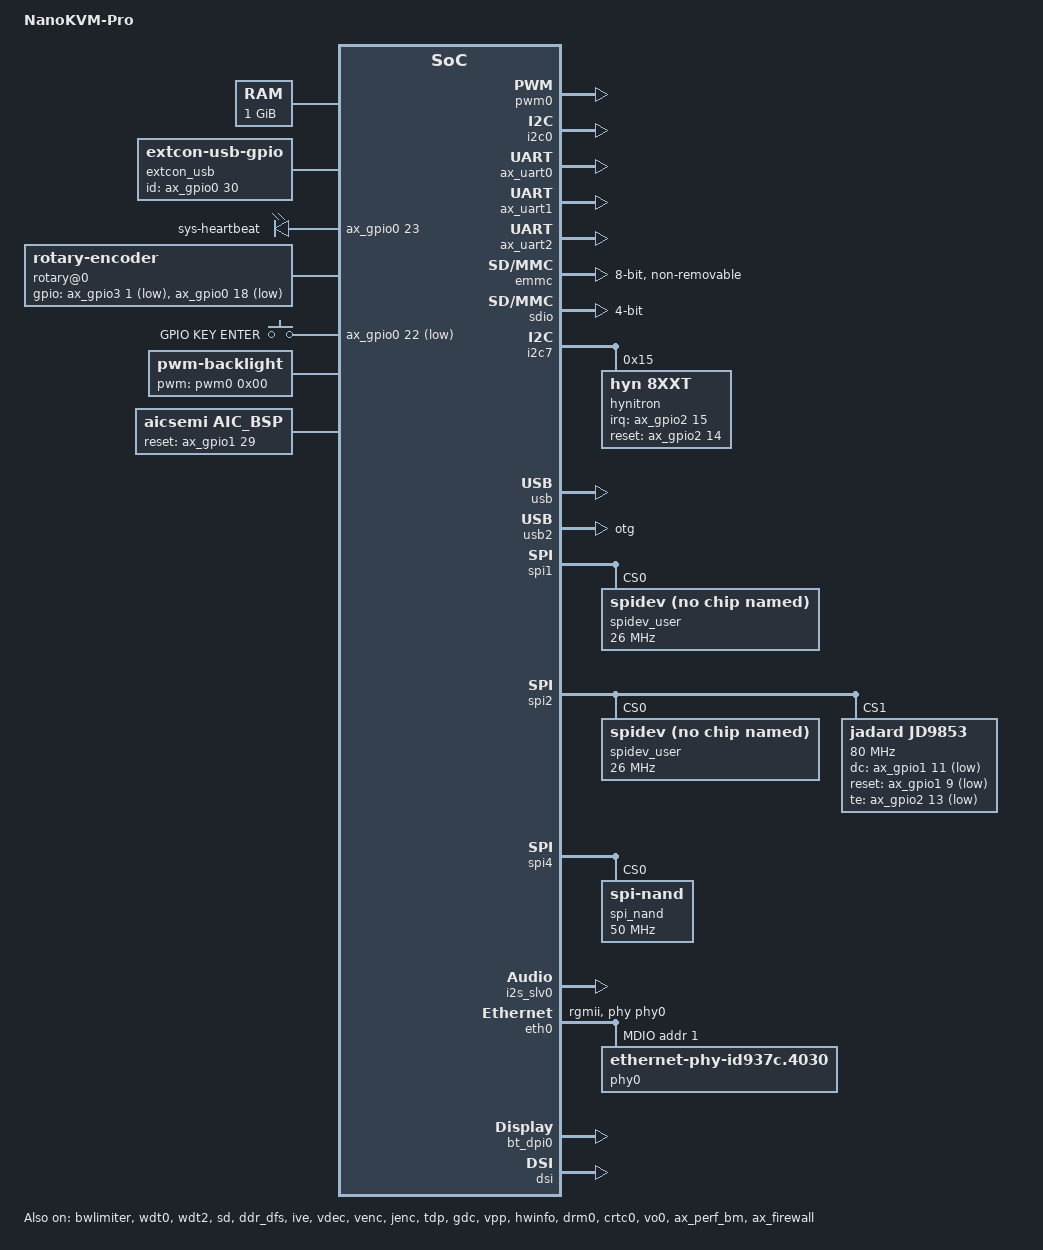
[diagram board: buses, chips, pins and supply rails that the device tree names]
// SPDX-License-Identifier: GPL-2.0
/**************************************************************************************************
 *
 * Copyright (c) 2019-2024 Axera Semiconductor Co., Ltd. All Rights Reserved.
 *
 * This dts file is the property of Axera Semiconductor Co., Ltd. and
 * may not be copied or distributed in any isomorphic form without the prior
 * written consent of Axera Semiconductor Co., Ltd.
 *
 **************************************************************************************************/

/dts-v1/;
#include "AX620E.dtsi"
/ {
	model = "NanoKVM-Pro";

	memory@40000000 {
		device_type = "memory";
		reg = <0x0 0x40000000 0x0 0x40000000>;
	};
	reserved-memory {
		#address-cells = <2>;
		#size-cells = <2>;
		ranges;
		boot_logo_reserved@70000036 {
			reg = <0x00 0x70000036 0x00 0x34bc00>;
			id = <0x00>;
			compatible = "boot_logo";
		};
		ramoops_mem@48000000 {
			compatible = "ramoops";
			reg = <0x0 0x48000000 0x0 0xf0000>;
			record-size = <0x40000>;
			console-size = <0x80000>;
			ftrace-size = <0x20000>;
		};
		axera_memory_dump@0 {
			compatible = "axera_memory_dump";
			reg = <0x0 0x480f0000 0x0 0x3000>;
			dump_ranges = <0x00 0x40001000 0x01 0x00>;
			no-map;
		};
		atf_reserved: atf_memreserved {
			reg = <ATF_RESERVED_START_HI ATF_RESERVED_START_LO ATF_RESERVED_SIZE_HI ATF_RESERVED_SIZE_LO>;
			no-map;
		};
#ifdef OPTEE_BOOT
		optee_reserved: optee_memserved {
			reg = <OPTEE_RESERVED_START_HI OPTEE_RESERVED_START_LO OPTEE_RESERVED_SIZE_HI OPTEE_RESERVED_SIZE_LO>;
			no-map;
		};
#endif
		axera_ddr_retrain@0 {
			compatible = "axera_ddr_retrain";
			reg = <0x0 0x40000000 0x0 0x1000>;
		};
	};

	chosen {
		bootargs = "mem=704M earlycon=uart8250,mmio32,0x4880000 board_id=0x5,boot_reason=0x00,initcall_debug=0 loglevel=8 usbcore.autosuspend=-1 root=/dev/mmcblk0p17 rootfstype=ext4 rw rootwait blkdevparts=mmcblk0:768K(spl),512K(ddrinit),256K(atf),256K(atf_b),1536K(uboot),1536K(uboot_b),1M(env),6M(logo),6M(logo_b),1M(optee),1M(optee_b),1M(dtb),1M(dtb_b),64M(kernel),64M(kernel_b),128M(boot),-(rootfs) logomode=vo0@dpi logomode=vo0@dsi_dpi_video";
	};

	dummy_codec: dummy-codec {
		compatible = "dummy-codec";
		#sound-dai-cells = <0>;
	};

	sound {
		status = "okay";
		compatible = "simple-audio-card";
		simple-audio-card,name = "Lontium Lt6911UXC";
		simple-audio-card,format = "i2s";
		simple-audio-card,bitclock-master = <&codec>;
		simple-audio-card,frame-master = <&codec>;
	/*	#address-cells = <1>;
		#size-cells = <0>;*/

		simple-audio-card,cpu {
			sound-dai = <&i2s_slv0>;
		};
		codec: simple-audio-card,codec {
			sound-dai = <&dummy_codec>;
		};
	/*	simple-audio-card,dai-link@0 {
			format = "i2s";
			cpu {
				sound-dai = <&i2s_mst0>;
			};
			codec {
				sound-dai = <&es7243l>;
				system-clock-frequency = <12288000>;
			};
		};
		simple-audio-card,dai-link@1 {
			format = "i2s";
			cpu {
				sound-dai = <&i2s_mst0>;
			};
			codec {
				sound-dai = <&es8156>;
				system-clock-frequency = <12288000>;
			};
		};
		simple-audio-card,dai-link@0 {
			format = "i2s";
			bitclock-master = <&codec_m2>;
			frame-master = <&codec_m2>;
			cpu {
				sound-dai = <&i2s_slv0>;
			};
			codec_m2: codec {
				sound-dai = <&es7243l>;
				system-clock-frequency = <12288000>;
			};
		};
		simple-audio-card,dai-link@1 {
			format = "i2s";
			bitclock-master = <&codec_m3>;
			frame-master = <&codec_m3>;
			cpu {
				sound-dai = <&i2s_slv0>;
			};
			codec_m3: codec {
				sound-dai = <&es8156>;
				system-clock-frequency = <12288000>;
			};
		};
		simple-audio-card,dai-link@0 {
			format = "dsp_b";
			cpu {
				sound-dai = <&i2s_tdm_mst0>;
				dai-tdm-slot-num = <2>;
				dai-tdm-slot-width = <32>;
				dai-tdm-slot-rx-mask = <1 1>;
			};
			codec {
				sound-dai = <&es7243l>;
				system-clock-frequency = <12288000>;
			};
		};
		simple-audio-card,dai-link@0 {
			format = "dsp_b";
			bitclock-master = <&codec_m5>;
			frame-master = <&codec_m5>;
			cpu {
				sound-dai = <&i2s_tdm_slv0>;
				dai-tdm-slot-num = <2>;
				dai-tdm-slot-width = <32>;
				dai-tdm-slot-rx-mask = <1 1>;
			};
			codec_m5: codec {
				sound-dai = <&es7243l>;
				system-clock-frequency = <12288000>;
			};
		};*/
	/*	simple-audio-card,dai-link@0 {
			format = "i2s";
			bitclock-master = <&codec_m6>;
			frame-master = <&codec_m6>;
			capture-only;
			cpu {
				//sound-dai = <&i2s_inner_slv0>;
			};
			codec_m6: codec {
				//sound-dai = <&audio_codec>;
				system-clock-frequency = <12288000>;
			};
		};
		simple-audio-card,dai-link@1 {
			format = "i2s";
			playback-only;
			cpu {
				//sound-dai = <&i2s_inner_mst0>;
			};
			codec {
				//sound-dai = <&audio_codec>;
				system-clock-frequency = <12288000>;
			};
		};*/
	};

	vfb0: vfb@0 {
		compatible = "axera,vfb";
		id = <0>;
		width = <480>;
		height = <640>;
		bpp = <32>;
		buf-num = <2>;
		status = "disabled";
	};

	vfb1: vfb@1 {
		compatible = "axera,vfb";
		id = <1>;
		width = <1920>;
		height = <1080>;
		bpp = <32>;
		buf-num = <2>;
		status = "disabled";
	};

	vfb2: vfb@2 {
		compatible = "axera,vfb";
		id = <2>;
		width = <64>;
		height = <64>;
		bpp = <32>;
		buf-num = <1>;
		cursor;
		status = "disabled";
	};

	axera_logctl {
		compatible = "axera,logctl";
		config = "/etc/ax_syslog.conf";
		logstate = /bits/ 8 <1 1>;
		loglevel = /bits/ 8 <4 4>;
	};

	extcon_usb: extcon_usb {
		compatible = "linux,extcon-usb-gpio";
		id-gpio = <&ax_gpio0 30 0>; /* GPIO0_A30 */
		status = "okay";
	};

	leds {
		status = "okay";
		compatible = "gpio-leds";
		pinctrl-names = "default";
		pinctrl-0 = <&sd_pwr_en_gpio0_a23_pins>;

		led-heartbeat {
			label = "sys-heartbeat";
			gpios = <&ax_gpio0 23 0x00>;
			linux,default-trigger = "heartbeat";
			status = "okay";
		};
	};

	rotary@0 {
		status = "okay";
		compatible = "rotary-encoder";
		pinctrl-names = "default";
		pinctrl-0 = <&gpio3_a1_pins &bond2_gpio0_a18_pins>;
		gpios = <&ax_gpio3 1 0x01 &ax_gpio0 18 0x01>;
		linux,axis = <0x00>;
		rotary-encoder,encoding = "gray";
		rotary-encoder,relative-axis;
		rotary-encoder,steps-per-period = <0x04>;
	};

	gpio_keys {
		status = "okay";
		compatible = "gpio-keys";
		pinctrl-names = "default";
		pinctrl-0 = <&tck_gpio0_a22_pins>;
		autorepeat;

		rokey {
			label = "GPIO KEY ENTER";
			linux,code = <0x1c>;
			gpios = <&ax_gpio0 22 0x01>;
			debounce-interval = <0x0a>;
		};
	};

	backlight {
		status = "okay";
		compatible = "pwm-backlight";
		pwms = <&pwm0 0x00 0x71073>;
		brightness-levels = <0x00 0x65>;
		num-interpolated-steps = <0x64>;
		default-brightness-level = <0x64>;
	};

	aic_bsp {
		compatible = "aicsemi,aic_bsp";
		reset-gpio = <&ax_gpio1 29 0x00>;
		pinctrl-names = "default";
		pinctrl-0 = <&ephy_led1_gpio1_a29_pins>;
		status = "okay";
	};
};

&pwm0 {
	pinctrl-names = "default";
	pinctrl-0 = <&emac_ptp_pps0_pwm0_m_pins>;
	status = "okay";
};

&pwm1 {
	status = "disabled";
};

&pwm2 {
	status = "disabled";
};

&deb_gpio_lp {
	lp-status = <11 1>;/* use db_gpio11 as wakeup source */
	status = "okay";
};

&bwlimiter {
	status = "okay";
};

&i2c0 {
	status = "okay";
};


&i2c2 {
	status = "disabled";
};

&i2c3 {
	status = "disabled";
};

&i2c_slv0 {
	status = "disabled";
	#address-cells = <0x1>;
	#size-cells = <0x0>;
	i2c_slave_eeprom: i2c_slave_eeprom@55 {
		compatible = "axera,slave-24c02";
		reg = <0x40000055>;
		status = "okay";
	};
};

&ax_uart0 {
	status = "okay";
};

&ax_uart1 {
	status = "okay";
};

&ax_uart2 {
	status = "okay";
};

&ax_uart5 {
	status = "disabled";
	pinctrl-names = "default";
	pinctrl-0 = <&emac_ptp_pps0_uart5_cts_pins
		&emac_ptp_pps1_uart5_rts_pins
		&emac_ptp_pps2_uart5_txd_pins
		&emac_ptp_pps3_uart5_rxd_pins>;
};

&wdt0 {
	status = "okay";
};

&wdt2 {
	status = "okay";
};

&emmc{
	max-frequency = <200000000>;
	sdhci-caps-mask = <0x2 0x03200000>;
	bus-width = <8>;
	no-sdio;
	no-sd;
	non-removable;
	disable-wp;
	cap-mmc-hw-reset;
	/* AX630C use GPIO2_A23 */
	hw-reset = <&ax_gpio2 23 0>;
	/* AX620Q use GPIO1_A0 */
	/* hw-reset = <&ax_gpio1 0 0>; */
	cap-mmc-highspeed;
	mmc-hs200-1_8v;
	mmc-hs400-1_8v;
	mmc-hs400-enhanced-strobe;
	cdns,phy-input-delay-sd-highspeed = <2>;
	cdns,phy-input-delay-legacy = <4>;
	cdns,phy-input-delay-sd-uhs-sdr12 = <1>;
	cdns,phy-input-delay-sd-uhs-sdr25 = <2>;
	cdns,phy-input-delay-sd-uhs-sdr50 = <1>;
	cdns,phy-input-delay-sd-uhs-ddr50 = <2>;
	cdns,phy-input-delay-mmc-legacy = <1>;
	cdns,phy-input-delay-mmc-highspeed = <2>;
	cdns,phy-input-delay-mmc-ddr = <2>;
	cdns,phy-dll-delay-sdclk = <45>;
	cdns,phy-dll-delay-sdclk-hsmmc = <23>;
	cdns,phy-dll-delay-strobe = <18>;
	fixed-emmc-driver-type = <4>;
	status = "okay";
};

&sd{
	sdhci-caps-mask = <0x7 0x00200000>;
	bus-width = <4>;
	max-frequency = <200000000>;
	cap-sd-highspeed;
	sd-uhs-sdr12;
	sd-uhs-sdr25;
	sd-uhs-sdr50;
	sd-uhs-ddr50;
	sd-uhs-sdr104;
	no-sdio;
	no-mmc;
	disable-wp;
#if 1
	broken-cd;
#else
	cd-gpios = <&ax_gpio1 11 0>;
	cd-inverted;
	cd-debounce-delay-ms = <300>;
#endif

	cdns,phy-input-delay-sd-highspeed = <2>;
	cdns,phy-input-delay-legacy = <3>;
	cdns,phy-input-delay-sd-uhs-sdr12 = <3>;
	cdns,phy-input-delay-sd-uhs-sdr25 = <2>;
	cdns,phy-input-delay-sd-uhs-sdr50 = <1>;
	cdns,phy-input-delay-sd-uhs-ddr50 = <1>;
	cdns,phy-dll-delay-sdclk = <0>;

	status = "okay";
};

&sdio{
	sdhci-caps-mask = <0x7 0x00200000>;
	bus-width = <4>;
	max-frequency = <200000000>;
	cap-sd-highspeed;
	sd-uhs-sdr25;
	sd-uhs-sdr12;
	sd-uhs-sdr50;
	sd-uhs-ddr50;
	//sd-uhs-sdr104;
	no-1-8-v;
	no-sd;
	no-mmc;
	disable-wp;
	broken-cd;
	//vol-sw-gpio = <&ax_gpio0 17 0>;
	cdns,phy-input-delay-sd-highspeed = <2>;
	cdns,phy-input-delay-legacy = <3>;
	cdns,phy-input-delay-sd-uhs-sdr12 = <3>;
	cdns,phy-input-delay-sd-uhs-sdr25 = <2>;
	cdns,phy-input-delay-sd-uhs-sdr50 = <1>;
	cdns,phy-input-delay-sd-uhs-ddr50 = <1>;
	cdns,phy-dll-delay-sdclk = <0>;

	status = "okay";
};

&i2c4 {
	status = "disabled";
};

&i2c7 {
	#address-cells = <1>;
	#size-cells = <0>;
	status = "okay";

	hynitron: hynitron@15 {
		compatible = "hyn,8xxt";
		reg = <0x15>;
		pinctrl-names = "ts_active", "ts_suspend";
		pinctrl-0 = <&cdtx_l2p_gpio2_a15_pins &cdtx_l2n_gpio2_a14_pins>;
		pinctrl-1 = <&cdtx_l2p_gpio2_a15_pins &cdtx_l2n_gpio2_a14_pins>;
		irq-gpio = <&ax_gpio2 15 0x00>;
		reset-gpio = <&ax_gpio2 14 0x00>;
		max-touch-number = <0x05>;
		display-coords = <0x00 0x00 0xac 0x140>;
		pos-swap = <0x00>;
		posx-reverse = <0x00>;
		posy-reverse = <0x00>;
		status = "okay";
	};
};

&usb {
	status = "okay";
};

&usb2 {
	dr_mode = "otg";
	extcon = <&extcon_usb>;
};

&spi0 {
       status = "disabled";
       spidev_user@0 {
               status = "okay";
               compatible = "axera,spidev";
               reg = <0>;
               spi-max-frequency = <26000000>;
       };
};

&spi1 {
	status = "okay";
	pinctrl-0 = <&vi_d0_spi_m1_mosi_pins>;

	spidev_user@0 {
		status = "okay";
		compatible = "axera,spidev";
		reg = <0>;
		spi-max-frequency = <26000000>;
	};
};

&spi2 {
	status = "okay";
	pinctrl-0 = <&uart3_txd_spi_m2_mosi_pins
		&i2c1_scl_spi_m2_sclk_pins
		&i2c1_sda_gpio0_a27_pins
		&emac_ptp_pps3_gpio1_a11_pins
		&emac_ptp_pps1_gpio1_a9_pins
		&cdtx_l1p_gpio2_a13_pins>;
	num-cs = <2>;

	spidev_user@0 {
		status = "okay";
		compatible = "axera,spidev";
		reg = <0>;
		spi-max-frequency = <26000000>;
	};

	jd9853: jd9853@1 {
		compatible = "jadard,jd9853";
		reg = <0x01>;
		status = "okay";
		spi-max-frequency = <0x4c4b400>;
		spi-cpol;
		spi-cpha;
		rotate = <0x00>;
		fps = <0x5a>;
		rgb;
		buswidth = <0x08>;
		dc-gpios = <&ax_gpio1 11 0x01>;
		reset-gpios = <&ax_gpio1 9 0x01>;
		te-gpios = <&ax_gpio2 13 0x01>;
		debug = <0x01>;
	};
};

&spi_slv {
       status = "disabled";
       stream-tx-gpio = <&ax_gpio2 13 0>;
       stream-rx-gpio = <&ax_gpio2 14 0>;
};

&spi4 {
	status = "okay";
	spi_nand@0 {
		compatible = "spi-nand";
		reg = <0>;
		rx-sample-delay-ns = <4>;
		spi-max-frequency = <50000000>;
	};
	/*spi_flash@0 {
		#address-cells = <1>;
		#size-cells = <1>;
		compatible = "jedec,spi-nor";
		reg = <0>;
		spi-max-frequency = <50000000>;
	};*/
};

&audio_codec {
	gpio-mic-rp = <&ax_gpio1 7 0>; /* GPIO1_A7 */
	gpio-mic-rn = <&ax_gpio1 6 0>; /* GPIO1_A6 */
	gpio-mic-ln = <&ax_gpio1 5 0>; /* GPIO1_A5 */
	gpio-mic-lp = <&ax_gpio1 4 0>; /* GPIO1_A4 */
	gpio-pa-speaker = <&ax_gpio1 17 0x00>;
	status = "disabled";
};
&i2s_inner_mst0 {
	status = "disabled";
	interrupt-names = "i2s_mst";
	interrupts = <GIC_SPI 147 IRQ_TYPE_LEVEL_HIGH>;
	/*i2s - pad0*/
	i2s-m-aec-cycle-sel = <0>;    /*23-22*/
	i2s-m-aec-sclk-sel = <0>;     /*21*/
	i2s-inner-codec-en = <1>;     /*20*/
	i2s-exter-codec-en = <0>;     /*19*/
	i2s-m-exter-codec-en = <0>;   /*18*/
	i2s-exter-codec-mst = <0>;    /*17*/
	i2s-m-exter-codec-mst = <0>;  /*16*/
	iis-out-tdm-en = <0>;         /*15*/
	iis-m-out-tdm-en = <0>;       /*14*/
	i2s-m-rx0-sel = <0>;          /*13*/
	i2s-m-rx1-sel = <0>;          /*12-11*/
	i2s-s-rx0-sel = <0>;          /*10-9*/
	i2s-s-rx1-sel = <2>;          /*8-7*/
	i2s-s-sclk-sel = <0>;         /*6-5*/
	tdm-m-rx-sel = <0>;           /*4-3*/
	tdm-s-rx-sel = <0>;           /*2-1*/
	tdm-s-sclk-sel = <0>;         /*0*/
};

&i2s_inner_slv0 {
	status = "disabled";
	interrupt-names = "i2s_slv";
	interrupts = <GIC_SPI 145 IRQ_TYPE_LEVEL_HIGH>;
	/*i2s - pad0*/
	i2s-m-aec-cycle-sel = <0>;    /*23-22*/
	i2s-m-aec-sclk-sel = <0>;     /*21*/
	i2s-inner-codec-en = <1>;     /*20*/
	i2s-exter-codec-en = <0>;     /*19*/
	i2s-m-exter-codec-en = <0>;   /*18*/
	i2s-exter-codec-mst = <0>;    /*17*/
	i2s-m-exter-codec-mst = <0>;  /*16*/
	iis-out-tdm-en = <0>;         /*15*/
	iis-m-out-tdm-en = <0>;       /*14*/
	i2s-m-rx0-sel = <0>;          /*13*/
	i2s-m-rx1-sel = <0>;          /*12-11*/
	i2s-s-rx0-sel = <0>;          /*10-9*/
	i2s-s-rx1-sel = <2>;          /*8-7*/
	i2s-s-sclk-sel = <0>;         /*6-5*/
	tdm-m-rx-sel = <0>;           /*4-3*/
	tdm-s-rx-sel = <0>;           /*2-1*/
	tdm-s-sclk-sel = <0>;         /*0*/
};

&i2s_mst0 {
	status = "disabled";
	interrupt-names = "i2s_mst";
	interrupts = <GIC_SPI 147 IRQ_TYPE_LEVEL_HIGH>;
	/*i2s - pad0*/
	i2s-m-aec-cycle-sel = <0>;    /*23-22*/
	i2s-m-aec-sclk-sel = <0>;     /*21*/
	i2s-inner-codec-en = <0>;     /*20*/
	i2s-exter-codec-en = <1>;     /*19*/
	i2s-m-exter-codec-en = <0>;   /*18*/
	i2s-exter-codec-mst = <1>;    /*17*/
	i2s-m-exter-codec-mst = <0>;  /*16*/
	iis-out-tdm-en = <0>;         /*15*/
	iis-m-out-tdm-en = <0>;       /*14*/
	i2s-m-rx0-sel = <0>;          /*13*/
	i2s-m-rx1-sel = <2>;          /*12-11*/
	i2s-s-rx0-sel = <0>;          /*10-9*/
	i2s-s-rx1-sel = <0>;          /*8-7*/
	i2s-s-sclk-sel = <0>;         /*6-5*/
	tdm-m-rx-sel = <0>;           /*4-3*/
	tdm-s-rx-sel = <0>;           /*2-1*/
	tdm-s-sclk-sel = <0>;         /*0*/
};

&i2s_slv0 {
	status = "okay";
	interrupt-names = "i2s_slv";
	interrupts = <GIC_SPI 145 IRQ_TYPE_LEVEL_HIGH>;
	/*i2s - pad0*/
	i2s-m-aec-cycle-sel = <0>;    /*23-22*/
	i2s-m-aec-sclk-sel = <0>;     /*21*/
	i2s-inner-codec-en = <0>;     /*20*/
	i2s-exter-codec-en = <1>;     /*19*/
	i2s-m-exter-codec-en = <0>;   /*18*/
	i2s-exter-codec-mst = <0>;    /*17*/
	i2s-m-exter-codec-mst = <0>;  /*16*/
	iis-out-tdm-en = <0>;         /*15*/
	iis-m-out-tdm-en = <0>;       /*14*/
	i2s-m-rx0-sel = <0>;          /*13*/
	i2s-m-rx1-sel = <0>;          /*12-11*/
	i2s-s-rx0-sel = <3>;          /*10-9*/
	i2s-s-rx1-sel = <0>;          /*8-7*/
	i2s-s-sclk-sel = <1>;         /*6-5*/
	tdm-m-rx-sel = <0>;           /*4-3*/
	tdm-s-rx-sel = <0>;           /*2-1*/
	tdm-s-sclk-sel = <0>;         /*0*/
};

&i2s_tdm_mst0 {
	status = "disabled";
	/*i2s - pad0*/
	i2s-m-aec-cycle-sel = <0>;    /*23-22*/
	i2s-m-aec-sclk-sel = <0>;     /*21*/
	i2s-inner-codec-en = <0>;     /*20*/
	i2s-exter-codec-en = <1>;     /*19*/
	i2s-m-exter-codec-en = <0>;   /*18*/
	i2s-exter-codec-mst = <1>;    /*17*/
	i2s-m-exter-codec-mst = <0>;  /*16*/
	iis-out-tdm-en = <1>;         /*15*/
	iis-m-out-tdm-en = <0>;       /*14*/
	i2s-m-rx0-sel = <0>;          /*13*/
	i2s-m-rx1-sel = <0>;          /*12-11*/
	i2s-s-rx0-sel = <0>;          /*10-9*/
	i2s-s-rx1-sel = <0>;          /*8-7*/
	i2s-s-sclk-sel = <0>;         /*6-5*/
	tdm-m-rx-sel = <0>;           /*4-3*/
	tdm-s-rx-sel = <0>;           /*2-1*/
	tdm-s-sclk-sel = <0>;         /*0*/
};

&i2s_tdm_slv0 {
	status = "disabled";
	/*i2s - pad0*/
	i2s-m-aec-cycle-sel = <0>;    /*23-22*/
	i2s-m-aec-sclk-sel = <0>;     /*21*/
	i2s-inner-codec-en = <0>;     /*20*/
	i2s-exter-codec-en = <1>;     /*19*/
	i2s-m-exter-codec-en = <0>;   /*18*/
	i2s-exter-codec-mst = <0>;    /*17*/
	i2s-m-exter-codec-mst = <0>;  /*16*/
	iis-out-tdm-en = <0>;         /*15*/
	iis-m-out-tdm-en = <0>;       /*14*/
	i2s-m-rx0-sel = <0>;          /*13*/
	i2s-m-rx1-sel = <0>;          /*12-11*/
	i2s-s-rx0-sel = <0>;          /*10-9*/
	i2s-s-rx1-sel = <0>;          /*8-7*/
	i2s-s-sclk-sel = <0>;         /*6-5*/
	tdm-m-rx-sel = <0>;           /*4-3*/
	tdm-s-rx-sel = <0>;           /*2-1*/
	tdm-s-sclk-sel = <0>;         /*0*/
};

#if 1
&eth0 {
	status = "okay";

	phy-handle = <&phy0>;
	phy-mode = "rgmii";
	phy-rst-gpio = <&ax_gpio1 27 0>; /* GPIO1_A27 */

	mdio {
		#address-cells = <1>;
		#size-cells = <0>;
		compatible = "snps,dwmac-mdio";
		phy0: jl2xxx-phy@1 {
			compatible = "ethernet-phy-id937c.4030";
			jl2xxx,led-enable = <JL2XXX_LED_CTRL_EN>;
			jl2xxx,led-mode = <JL2XXX_CFG_LED_MODE>;
			jl2xxx,led-period = <JL2XXX_GLOBAL_PERIOD_MS>;
			jl2xxx,led-on = <JL2XXX_GLOBAL_ON_MS>;
			jl2xxx,led-polarity = <JL2XXX_LED_POLARITY>;
			jl2xxx,patch-enable = <JL2XXX_PATCH_CTRL_EN>;
			jl2xxx,rgmii-enable = <JL2XXX_RGMII_CTRL_EN>;
			jl2xxx,rgmii-tx-delay = <JL2XXX_RGMII_TX_DLY_2NS>;
			jl2xxx,rgmii-rx-delay = <JL2XXX_RGMII_RX_DLY_2NS>;
			jl2xxx,clk-enable = <JL2XXX_CLK_CTRL_EN>;
			jl2xxx,fld-enable = <JL2XXX_FLD_CTRL_EN>;
			jl2xxx,fld-delay = <JL2XXX_FLD_DELAY>;
			jl2xxx,wol-enable = <JL2XXX_WOL_CTRL_EN>;
			jl2xxx,interrupt-enable = <JL2XXX_INTR_CTRL_EN>;
			jl2xxx,downshift-enable = <JL2XXX_DSFT_CTRL_EN>;
			jl2xxx,downshift-count = <JL2XXX_DSFT_AN_CNT>;
			jl2xxx,work_mode-enable = <JL2XXX_WORK_MODE_CTRL_EN>;
			jl2xxx,work_mode-mode = <JL2XXX_WOEK_MODE_MODE>;
			jl2xxx,lpbk-enable = <JL2XXX_LPBK_CTRL_EN>;
			jl2xxx,lpbk-mode = <JL2XXX_LPBK_MODE>;
			jl2xxx,slew_rate-enable = <JL2XXX_SLEW_RATE_CTRL_EN>;
			jl2xxx,rxc_out-enable = <JL2XXX_RXC_OUT_CTRL_EN>;
			reg = <1>;
		};
	};
};
#else
&eth0 {
	status = "okay";

	phy-handle = <&phy0>;
	phy-mode = "rmii";
	axera-ephy,led0-mode = <EPHY_LED_SPEED>;
	axera-ephy,led0-enable;
	axera-ephy,led1-mode = <EPHY_LED_LINK>;
	axera-ephy,led1-enable;
	axera-ephy,led-polarity = <EPHY_LED_LOW_ACTIVE>;
	mdio {
		#address-cells = <1>;
		#size-cells = <0>;
		compatible = "snps,dwmac-mdio";
		phy0: axera-ephy@1 {
			device_tpye = "ethernet-phy";
			compatible = "ethernet-phy-id0044.1400";
			reg = <1>;
		};
	};
};
#endif

&ddr_dfs {
       status = "okay";
};

&ive {
	status = "okay";
};

&vdec {
	status = "okay";
};

&venc {
	status = "okay";
};

&jenc {
	status = "okay";
};

&tdp {
	status = "okay";
};

&gdc {
	status = "okay";
};

&vpp {
	status = "okay";
};

&axera_rtc_pwr {
        status = "disabled";
};

&hwinfo {
	status = "okay";
};

&drm0 {
	status = "okay";

	init-mode {
		de-active = <0x00>;
		vsync-active = <0x00>;
		hsync-active = <0x00>;
		vback-porch = <0x20>;
		vsync-len = <0x08>;
		vfront-porch = <0x0d>;
		vactive = <0x1e0>;
		hback-porch = <0x58>;
		hsync-len = <0x1e>;
		hfront-porch = <0x0a>;
		hactive = <0x320>;
		clock-frequency = <0x1c52fa0>;
		interface-type = <0x04>;
	};
};

&drm1 {
	status = "disable";
};

&crtc0 {
	status = "okay";
};

&crtc1 {
	status = "disable";
};

&vo0 {
	vo-chn-max = <0x10>;
	vo-poly-line-width = <0x10>;
	status = "okay";
};

&vo1 {
	vo-chn-max = <0x10>;
	vo-poly-line-width = <0x10>;
	status = "disable";
};

&bt_dpi0 {
	status = "okay";
};

&bt_dpi1 {
	status = "disable";
};

&dsi {
	status = "okay";
};

&dma {
	status = "okay";
};

&dma_per {
	status = "okay";
};

&dmac {
	status = "okay";
};

&ax_perf_bm {
	status = "okay";
};

&ax_firewall {
	status = "okay";
};

&panel_dsi {
	status = "disabled";
	prepare-delay-ms = <0>;
	unprepare-delay-ms = <0>;
	enable-delay-ms = <0>;
	disable-delay-ms = <150>;
	//reset-gpio = <&ax_gpio1 0 0>;
	reset-gpio = <&ax_gpio0 23 0x00>;
	pinctrl-names = "default";
	pinctrl-0 = <&sd_pwr_en_gpio0_a23_pins>;

	dsi,format = <MIPI_DSI_FMT_RGB888>;
	dsi,lanes = <2>;
	dsi,flags = <(MIPI_DSI_MODE_VIDEO_SYNC_PULSE | MIPI_DSI_MODE_VIDEO | MIPI_DSI_MODE_LPM |MIPI_DSI_CLOCK_NON_CONTINUOUS )>;
	panel-init-seq = [39 00 04 B9 FF 83 99
                          39 00 10 B1 02 04 6B 8B 01 32 33 11 11 53 01 56 73 02 02
                          39 00 0c B2 00 80 80 AE 05 07 5A 11 00 10 10
                          39 00 2d B4 00 FF 00 AC 00 9C 00 00 08 00 00 02 00 26 02 07 09 21 03 00 00 04 A4 88 00 AC 00 9C 00 00 08 00 00 02 00 24 02 07 09 00 00 04 A4 12
                          39 05 22 D3 00 00 00 00 00 00 00 00 32 10 05 00 05 00 00 00 00 00 00 00 00 00 00 01 00 07 07 03 00 00 00 05 40
                          39 05 21 D5 00 00 00 01 02 03 00 00 00 00 19 00 18 00 20 21 00 18 00 00 00 00 00 00 00 00 31 31 30 30 2F 2F
                          39 05 21 D6 40 40 03 02 01 00 40 40 40 40 18 40 19 40 21 20 40 18 40 40 40 40 40 40 40 40 31 31 30 30 2F 2F
                          39 00 11 D8 28 02 00 2A 28 02 C0 2A 00 00 00 00 00 00 00 00
                          15 00 02 BD 01
                          39 00 11 D8 00 00 00 00 00 00 00 00 28 2A 00 2A 28 02 C0 2A
                          15 00 02 BD 02
                          39 00 09 D8 28 2A 00 2A 28 02 C0 2A
                          15 00 02 BD 00
                          39 00 03 B6 8D 8D
                          39 00 37 E0 01 49 4F 45 87 8A 8F 84 88 8D 91 94 97 9B A1 A2 A4 AA AB B0 A2 AF AF 59 54 5E 6D 01 49 4F 45 87 8A 8F 84 88 8D 91 94 97 9B A1 A2 A4 AA AB B0 A2 AF AF 59 54 5E 6D
                          15 00 02 D2 33
                          39 00 03 B6 7D 7D
                          39 00 08 BF 40 41 50 09 1A 80 CD
                          15 00 02 CC 08
                          15 05 02 36 00
                          05 00 01 35
                          05 00 01 29
                          05 05 01 11];
	panel-exit-seq = [05 00 01 10];

	dsi-panel_esd_check_enable = /bits/ 8 <0>;
	dsi-panel-check-mode = /bits/ 8 <0>;
	dsi-panel-read-reg = /bits/ 8 <0x0A>;
	dsi-panel-read-length = /bits/ 8 <1>;
	dsi-panel-max-error-count = /bits/ 8 <3>;
	dsi-panel-status-value = /bits/ 8 <0x9D>;
	dsi-panel-check-interval-ms = <2000>;
};

&panel0 {
	status = "disable";
};

&panel1 {
	status = "disable";
};

&lvdstx {
	status = "disable";
};

&panel_lvds {
	status = "disable";
	data-mapping = "vesa-24";
};
